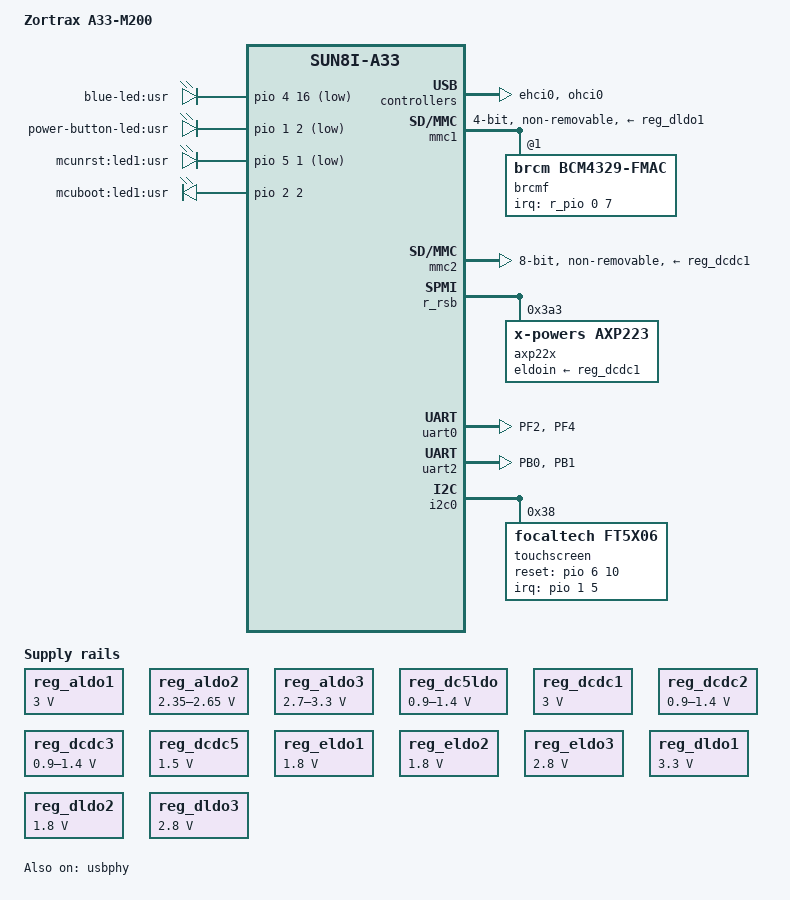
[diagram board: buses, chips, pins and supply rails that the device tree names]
/*
 * Copyright 2016 - Patrick Areny <pataraign@gmail.com>
 *
 *
 * This file is dual-licensed: you can use it either under the terms
 * of the GPL or the X11 license, at your option. Note that this dual
 * licensing only applies to this file, and not this project as a
 * whole.
 *
 *  a) This file is free software; you can redistribute it and/or
 *     modify it under the terms of the GNU General Public License as
 *     published by the Free Software Foundation; either version 2 of the
 *     License, or (at your option) any later version.
 *
 *     This file is distributed in the hope that it will be useful,
 *     but WITHOUT ANY WARRANTY; without even the implied warranty of
 *     MERCHANTABILITY or FITNESS FOR A PARTICULAR PURPOSE.  See the
 *     GNU General Public License for more details.
 *
 * Or, alternatively,
 *
 *  b) Permission is hereby granted, free of charge, to any person
 *     obtaining a copy of this software and associated documentation
 *     files (the "Software"), to deal in the Software without
 *     restriction, including without limitation the rights to use,
 *     copy, modify, merge, publish, distribute, sublicense, and/or
 *     sell copies of the Software, and to permit persons to whom the
 *     Software is furnished to do so, subject to the following
 *     conditions:
 *
 *     The above copyright notice and this permission notice shall be
 *     included in all copies or substantial portions of the Software.
 *
 *     THE SOFTWARE IS PROVIDED "AS IS", WITHOUT WARRANTY OF ANY KIND,
 *     EXPRESS OR IMPLIED, INCLUDING BUT NOT LIMITED TO THE WARRANTIES
 *     OF MERCHANTABILITY, FITNESS FOR A PARTICULAR PURPOSE AND
 *     NONINFRINGEMENT. IN NO EVENT SHALL THE AUTHORS OR COPYRIGHT
 *     HOLDERS BE LIABLE FOR ANY CLAIM, DAMAGES OR OTHER LIABILITY,
 *     WHETHER IN AN ACTION OF CONTRACT, TORT OR OTHERWISE, ARISING
 *     FROM, OUT OF OR IN CONNECTION WITH THE SOFTWARE OR THE USE OR
 *     OTHER DEALINGS IN THE SOFTWARE.
 */

/dts-v1/;
#include "sun8i-a33.dtsi"
//#include "sunxi-common-regulators.dtsi"

#include <dt-bindings/gpio/gpio.h>
#include <dt-bindings/input/input.h>

/ {
	model = "Zortrax A33-M200";
	compatible = "zortrax,a33-m200","allwinner,sun8i-a33";

	aliases {
		serial0 = &uart0;   // Console on PF2 and PF4
        serial2 = &uart2;   // MCU connection on PB0 and PB1, if not properly configured, it will mix with UART1 and mess up the uboot console
	};

	chosen {
		stdout-path = "serial0:115200n8";
	};

    leds {
		compatible = "gpio-leds";

		led-green {
			label = "blue-led:usr";
			gpios = <&pio 4 16 GPIO_ACTIVE_LOW>;  // PE16: port E (4), pin 16
		};

        power-button-led {
			label = "power-button-led:usr";
			gpios = <&pio 1 2 GPIO_ACTIVE_LOW>;   // PB02: port B (1), pin 2
		};
        
        // Those are not leds but reusing the gpio-leds driver to export them
        led-mcu-nrst {
			label = "mcunrst:led1:usr";
			gpios = <&pio 5 1 GPIO_ACTIVE_LOW>;   // PF01: port F (5), pin 1
		};
        led-mcu-boot {
			label = "mcuboot:led1:usr";
			gpios = <&pio 2 2 GPIO_ACTIVE_HIGH>;  // PC02: port C (2), pin 2
		};
	};
};

// No audio
&codec {
	status = "disabled";
};

&dai {
	status = "disabled";
};

&ehci0 {
	status = "okay";
};

&ohci0 {
	status = "okay";
};

/* 
// The SDIO pins are not connected.
&mmc0 {
	vmmc-supply = <&reg_dcdc1>;
	bus-width = <4>;
	//cd-gpios = <&pio 1 4 GPIO_ACTIVE_LOW>; PB4
	status = "okay";
};
*/

// For the Wifi chip on rev 1.1
&mmc1 {
	pinctrl-names = "default";
	pinctrl-0 = <&mmc1_pg_pins>;
	vmmc-supply = <&reg_dldo1>;
	mmc-pwrseq = <&wifi_pwrseq>;
	bus-width = <4>;
	non-removable;
	status = "okay";

	brcmf: wifi@1 {
		reg = <1>;
		compatible = "brcm,bcm4329-fmac";
		interrupt-parent = <&r_pio>;
		interrupts = <0 7 IRQ_TYPE_LEVEL_LOW>; /* PL7 */
		interrupt-names = "host-wake";
	};
};

&mmc2 {
	pinctrl-names = "default";
	pinctrl-0 = <&mmc2_8bit_pins>;
	vmmc-supply = <&reg_dcdc1>;
	bus-width = <8>;
	non-removable;
	cap-mmc-hw-reset;
	status = "okay";
};

&mmc2_8bit_pins {
	// Increase drive strength for DDR modes
	drive-strength = <40>;
};

&r_rsb {
	status = "okay";

	axp22x: pmic@3a3 {
		compatible = "x-powers,axp223";
		reg = <0x3a3>;
		interrupt-parent = <&r_intc>;
		interrupts = <GIC_SPI 32 IRQ_TYPE_LEVEL_LOW>;
		eldoin-supply = <&reg_dcdc1>;
	};
};

#include "axp223.dtsi"

&ac_power_supply {
	status = "okay";
};

&battery_power_supply {
	status = "okay";
};

&reg_aldo1 {
	regulator-always-on;
	regulator-min-microvolt = <3000000>;
	regulator-max-microvolt = <3000000>;
	regulator-name = "vcc-io";
};

&reg_aldo2 {
	regulator-always-on;
	regulator-min-microvolt = <2350000>;
	regulator-max-microvolt = <2650000>;
	regulator-name = "vdd-dll";
};

&reg_aldo3 {
	regulator-always-on;
	regulator-min-microvolt = <2700000>;
	regulator-max-microvolt = <3300000>;
	regulator-name = "vcc-pll-avcc";
};

&reg_dc5ldo {
	regulator-always-on;
	regulator-min-microvolt = <900000>;
	regulator-max-microvolt = <1400000>;
	regulator-name = "vdd-cpus";
};

&reg_dcdc1 {
	regulator-always-on;
	regulator-min-microvolt = <3000000>;
	regulator-max-microvolt = <3000000>;
	regulator-name = "vcc-3v0";
};

&reg_dcdc2 {
	regulator-always-on;
	regulator-min-microvolt = <900000>;
	regulator-max-microvolt = <1400000>;
	regulator-name = "vdd-sys";
};

&reg_dcdc3 {
	regulator-always-on;
	regulator-min-microvolt = <900000>;
	regulator-max-microvolt = <1400000>;
	regulator-name = "vdd-cpu";
};

&reg_dcdc5 {
	regulator-always-on;
	regulator-min-microvolt = <1500000>;
	regulator-max-microvolt = <1500000>;
	regulator-name = "vcc-dram";
};


&reg_eldo1 {
	regulator-min-microvolt = <1800000>;
	regulator-max-microvolt = <1800000>;
	regulator-name = "vcc-1v8-unknownusage";
};

&reg_eldo2 {
	regulator-min-microvolt = <1800000>;
	regulator-max-microvolt = <1800000>;
	regulator-name = "vcc-1v8-csi";
};

&reg_eldo3 {
	regulator-min-microvolt = <2800000>;
	regulator-max-microvolt = <2800000>;
	regulator-name = "vcc-2v8-csi";
};

&reg_dldo1 {
	regulator-min-microvolt = <3300000>;
	regulator-max-microvolt = <3300000>;
	regulator-name = "vcc-3V3-Wifi_unused";
};


&reg_dldo2 {
	regulator-min-microvolt = <1800000>;
	regulator-max-microvolt = <1800000>;
	regulator-name = "vcc-1v8-unknownusage";
};

&reg_dldo3 {
	regulator-min-microvolt = <2800000>;
	regulator-max-microvolt = <2800000>;
	regulator-name = "iovdd-2v8-csi";
};

&reg_dc1sw {
	regulator-name = "vcc-lcd";
};

&reg_drivevbus {
	regulator-name = "usb0-vbus";
	status = "okay";
};

&reg_rtc_ldo {
	regulator-name = "vcc-rtc";
};

&usb_power_supply {
    status = "okay";
};

&sound {
 	status = "disabled";
};

// On the a23-a33 dtsi, the UART is on the PF2 and PF4 like in the fex file
// However sun8i-a33.dsi sets it to PB0 and PB1 and it works, we have the console anyway.
// It is because it mixes uart1 and uart2 on PB0 and PB1
&uart0 {
	pinctrl-names = "default";
	pinctrl-0 = <&uart0_pf_pins>;
	status = "okay";
};

// Disabled bluetooth but uses some pins
/*
&uart1 {
	pinctrl-names = "default";
	pinctrl-0 = <&uart1_xfer &uart1_cts &uart1_rts>;
	uart-has-rtscts;
	status = "disabled";

	bluetooth {
		compatible = "brcm,bcm4345c5";
		clocks = <&r 1>;
		clock-names = "lpo";
		max-speed = <1500000>;
		pinctrl-names = "default";
		pinctrl-0 = <&bt_host_wake_pin &bt_wake_pin &bt_reset_pin>;
		vbat-supply = <&wifi_bat>;
		vddio-supply = <&vcc_wl>;
	};
};
*/

&uart2 {
	pinctrl-names = "default";
	pinctrl-0 = <&uart2_pb_pins>;
	status = "okay";
};

/*
[gpio_para]
gpio_used = 1
gpio_pin_1 = port:PB02<1><default><default><0>  pin 3 on P4 -> power button LED
gpio_pin_2 = port:PB03<1><default><default><0>  ?
gpio_pin_3 = port:PE17<1><default><default><1>  ?
gpio_pin_4 = port:PH01<1><default><default><0>  PIN_VALUE_FILE="/sys/class/gpio_sw/PH1/data" 1=USB_slave 0=USB Host in usb_mode_script.sh -> connected to usb ID pin 49 PH08 of the SOM
gpio_pin_5 = port:PC01<1><default><default><0>  Pin named GPIO on P3
gpio_pin_6 = port:PC00<1><default><default><0>  Pin named ALDOHC on P3
gpio_pin_7 = port:PC02<1><default><default><1>  Pin named BOOT on P3
gpio_pin_8 = port:PC03<0><1><default><0>        Pin named GPIOS on P3
gpio_pin_9 = port:PF01<1><default><default><0>  Pin named NRST on P3
gpio_pin_10 = port:PF00<1><default><default><0> Pin named SLP on P3

In uboot:
gpio set 225      # Set PH01 high 1=USB_slave
gpio clear 225    # Set PH01 low  0=USB Host
gpio input 225    # Set PH01 as input (tristate)

p3 = +3V SW LED GND GND GND DP DN VBUS VBUS
SW seems unconnected to the SOM, hence the useless switch on the printer, probably that they did not latch the power off state.

SOM's USBDRVVBUS goes to a transistor that powers VBUS or not
*/

&i2c0 {
    status = "okay";

    touchscreen@38 {
        compatible = "focaltech,ft5x06";
        reg = <0x38>;
        interrupt-parent = <&pio>;
		interrupts = <1 5 IRQ_TYPE_EDGE_FALLING>; // PB05: port B (1), pin 5
        reset-gpios = <&pio 6 10 GPIO_ACTIVE_HIGH>; // PG10: port G (6), pin 10
        touchscreen-size-x = <480>;
        touchscreen-size-y = <800>;
        touchscreen-inverted-x = <0>;
        touchscreen-inverted-y = <1>;
        touchscreen-swapped-x-y = <0>;
        wakeup-source;
        status = "okay";
    };
};

/*
&usb_otg {
	//dr_mode = "host";
	status = "disabled";
	dr_mode = "otg";
	//status = "okay";
};

&usbphy {
	compatible = "allwinner,sun8i-a23-usb-phy";
    usb0_id_det-gpios = <&pio 7 8 GPIO_ACTIVE_HIGH>; // PH08: port H (7), pin 8
	// VBUS detection from AXP221 internally, no AXP223 GPIO is connected to VBUS
	// does not work usb0_vbus_det-gpio = <&axp_gpio 1 GPIO_ACTIVE_HIGH>; // AXP221 GPIO1 has also the POWER label and toggles at the same time as VBUS on kernel start
	//usb0_vbus_det-gpio = <&axp_gpio 0 GPIO_ACTIVE_HIGH>;
	// Non sense pin
	//usb0_vbus_det-gpio = <&pio 1 3 GPIO_ACTIVE_HIGH>; // PB3 does not work neither
	//platform 1c1a000.usb: deferred probe pending: platform: supplier 1c19400.phy not ready
    usb0_vbus-supply = <&reg_dcdc1>;
	// non standard 
	usb0_vbus_power-supply = <&usb_power_supply>; // USB1 VBUS is always on
	// standard
    usb0_vbus-supply = <&reg_drivevbus>; // AXP223 regulated 5V for USB OTG
	// non standard 
    usb1_vbus_power-supply = <&usb_power_supply>; // USB1 VBUS is always on
	// standard
	usb1_vbus-supply = <&usb_power_supply>; // USB1 VBUS is always on
    status = "okay";
};
*/

&usb_otg {
	dr_mode = "otg";
	status = "disabled";
};

&usb_power_supply {
	status = "okay";
};

&usbphy {
	status = "okay";
};


&pio {
    vcc-pa-supply = <&reg_dcdc1>;
    vcc-pb-supply = <&reg_dcdc1>;
    vcc-pc-supply = <&reg_dcdc1>;
    //vcc-pe-supply = <&reg_eldo2>;
    vcc-pe-supply = <&reg_dcdc1>;
    vcc-pf-supply = <&reg_dcdc1>;
    vcc-pg-supply = <&reg_dcdc1>;
	vcc-ph-supply = <&reg_dcdc1>;
    //vcc-pl-supply = <&reg_dldo1>; // Not clear, but reg not found in the kernel start
	vcc-pl-supply = <&reg_dcdc1>;

	uart0_pf_pins: uart0-pf-pins {
		allwinner,pins = "PF2", "PF4";
		allwinner,function = "uart0";
	};

    // MCU connection: PB0/PB1 used for UART2
    uart2_pb_pins: uart2-pb-pins {
		allwinner,pins = "PB0", "PB1";
		allwinner,function = "uart2";
	};

    /* PB3 "Clear To Send" in conflict with power button led gpio...
    uart2_cts_rts_pb_pins: uart2-cts-rts-pb-pins {
        pins = "PB2", "PB3";
        function = "uart2";
    };
    */

    wifi_pwrseq: wifi-pwrseq {
        compatible = "mmc-pwrseq-simple";
        reset-gpios = <&pio 11 6 GPIO_ACTIVE_HIGH>; // PL6
    };
    /*
	wireless-bluetooth {
		bt_wake_pin: bt-wake-pin {
			allwinner,pins = <11 10 GPIO_ACTIVE_HIGH &pcfg_pull_none>;
		};

		bt_host_wake_pin: bt-host-wake-pin {
			allwinner,pins = <11 9 GPIO_ACTIVE_HIGH &pcfg_pull_none>;
		};

		bt_reset_pin: bt-reset-pin {
			allwinner,pins = <11 8 GPIO_ACTIVE_HIGH &pcfg_pull_none>;
		};
	};
    */
};


// LCD generated by copilot
// Should be cross compiled aside: sl698ph_720p.c
/*
&de {
    status = "okay";
    assigned-clocks = <&ccu CLK_DE>;
    assigned-clock-rates = <297000000>;
};

&lcd0 {
    status = "okay";
    compatible = "sl698ph,720p";
    interface-type = "dsi";
    dsi-lanes = <2>;
    dsi-format = <0>; // usually RGB888
    dsi-eotp = <0>;
    dsi-vc = <0>;
    dsi-te = <0>;

    width-mm = <51>;
    height-mm = <86>;
    display-timings {
        native-mode = <&timing0>;
        timing0: timing0 {
            clock-frequency = <31000000>;
            hactive = <480>;
            vactive = <800>;
            hback-porch = <44>;
            hfront-porch = <(575 - 480 - 44 - 6)>; // calculate as needed
            hsync-len = <6>;
            vback-porch = <16>;
            vfront-porch = <(896 - 800 - 16 - 1)>; // calculate as needed
            vsync-len = <1>;
            de-active = <1>;
            pixelclk-active = <1>;
        };
    };

    backlight = <&backlight>;
    brightness-levels = <197>;
    default-brightness-level = <197>;
    contrast = <50>;
    saturation = <57>;
    hue = <50>;
    gamma-enable = <0>;
    bright-curve-enable = <0>;
    cmap-enable = <0>;
    deu-mode = <0>;
    lcdgamma4iep = <22>;
    smart-color = <90>;

    enable-gpios = <&pio 1 6 GPIO_ACTIVE_HIGH>; // PB06
    reset-gpios = <&pio 7 9 GPIO_ACTIVE_HIGH>;  // PH09
    power-supply = <&reg_dc1sw>;
    power-supply1 = <&reg_eldo2>;
};

&backlight {
    status = "okay";
    pwms = <&pwm 0 50000 1>; // channel 0, freq 50kHz, polarity 1
    brightness-levels = <197>;
    default-brightness-level = <197>;
};
*/

/* 
&csi {
    status = "okay";
    pinctrl-names = "default";
    pinctrl-0 = <&csi_pins>;
    port {
        csi_ep: endpoint {
            remote-endpoint = <&gc2145>;
            bus-width = <4>;
            data-shift = <0>;
            hsync-active = <0>;
            vsync-active = <0>;
            pclk-sample = <1>;
        };
    };
};

&mipi_csi {
    status = "okay";
    pinctrl-names = "default";
    pinctrl-0 = <&mipi_csi_pins>;
    port {
        mipi_csi_ep: endpoint {
            remote-endpoint = <&gc2145>;
            data-lanes = <1 2>;
        };
    };
};

gc2145: camera@3c {
    compatible = "galaxycore,gc2145";
    reg = <0x3c>;
    clocks = <&clk_ext_camera>;
    iovdd-supply = <&scmi_v3v3_sw>;
    avdd-supply = <&scmi_v3v3_sw>;
    dvdd-supply = <&scmi_v3v3_sw>;
    powerdown-gpios = <&mcp23017 3 (GPIO_ACTIVE_LOW | GPIO_PUSH_PULL)>;
    reset-gpios = <&mcp23017 4 (GPIO_ACTIVE_LOW | GPIO_PUSH_PULL)>;
    status = "okay";

    port {
        gc2145_ep: endpoint {
            remote-endpoint = <&mipid02_0>;
            data-lanes = <1 2>;
            link-frequencies = /bits/ 64 <120000000 192000000 240000000>;
        };
    };
};
 */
